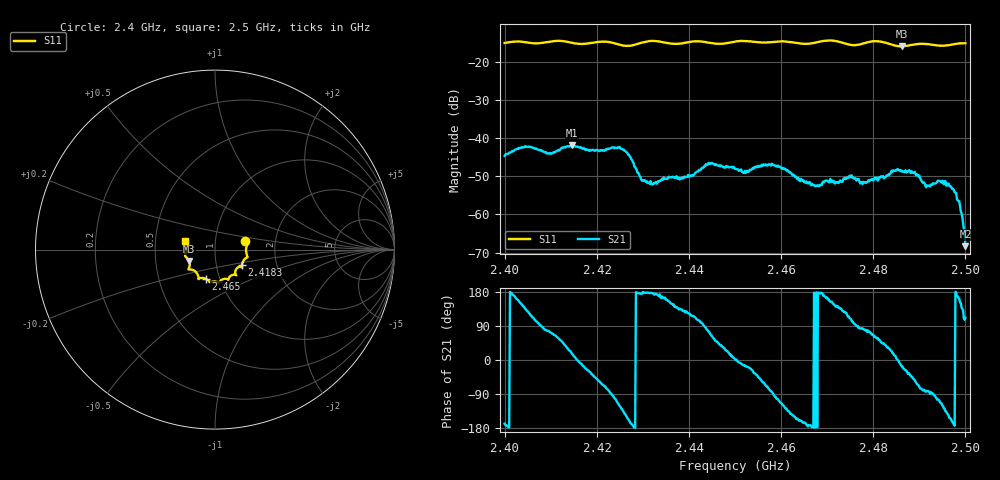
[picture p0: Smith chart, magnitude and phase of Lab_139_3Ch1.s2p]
# Hz S RI R 50
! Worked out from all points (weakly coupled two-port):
!   601 points, 2.4 GHz to 2.5 GHz, reference 50 ohm
!   highest |S21| = -41.97 dB at 2.4147 GHz (marker M1); lowest = -68.3 dB at 2.5 GHz (marker M2)
!   lowest |S11| = -16.0 dB at 2.4862 GHz (marker M3), VSWR 1.38, Z = 37.1 - j4.82 ohm
!   |S11| at or under -10 dB: start of sweep to end of sweep
!   S12 and S22 are empty: the file has one direction only
!   S11 on the Smith chart (normalised r, x): 2.4 GHz: 1.40, +0.13; 2.4183 GHz: 1.33, -0.24; 2.465 GHz: 0.86, -0.29; 2.5 GHz: 0.71, +0.07
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2.4e9  0.1689 0.0458  -0.00568 -0.00119  0 0  0 0
2.404167e9  0.1784 0.0258  -0.00588 0.0048  0 0  0 0
2.409667e9  0.1781 -0.0328  0.00161 0.00609  0 0  0 0
2.414667e9  0.1682 -0.0503  0.00767 0.00217  0 0  0 0
2.416667e9  0.1553 -0.0685  0.00727 -0.0013  0 0  0 0
2.418333e9  0.1499 -0.0871  0.00588 -0.00342  0 0  0 0
2.425333e9  0.1311 -0.0974  -0.00443 -0.00565  0 0  0 0
2.429833e9  0.1136 -0.1355  -0.00273 0.000262  0 0  0 0
2.433333e9  0.1169 -0.1414  -0.00268 0.000473  0 0  0 0
2.4405e9  0.0752 -0.1658  -0.00153 0.00287  0 0  0 0
2.444667e9  0.0642 -0.1629  0.00173 0.00426  0 0  0 0
2.45e9  0.0252 -0.1807  0.00394 0.00011  0 0  0 0
2.4585e9  -0.0211 -0.1796  -0.00031 -0.00438  0 0  0 0
2.465e9  -0.0527 -0.162  -0.00256 -0.000622  0 0  0 0
2.466667e9  -0.0713 -0.1577  -0.00253 -0.00013  0 0  0 0
2.483333e9  -0.1422 -0.0959  0.00287 0.00173  0 0  0 0
2.486167e9  -0.1447 -0.0634  0.00348 -0.00103  0 0  0 0
2.489167e9  -0.1633 -0.0399  0.00182 -0.00282  0 0  0 0
2.491833e9  -0.1663 -0.0288  0.000338 -0.00235  0 0  0 0
2.496833e9  -0.1635 0.0256  -0.00211 -0.000981  0 0  0 0
2.4985e9  -0.1676 0.0394  -0.00144 0.000427  0 0  0 0
2.5e9  -0.1669 0.0471  -0.000137 0.000359  0 0  0 0
